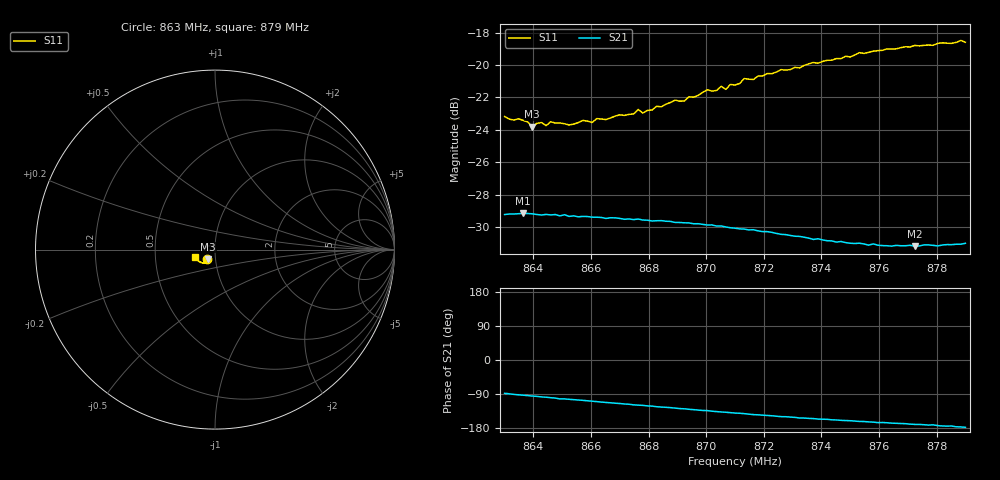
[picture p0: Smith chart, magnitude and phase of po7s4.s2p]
# HZ S RI R 50
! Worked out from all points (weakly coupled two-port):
!   101 points, 863 MHz to 879 MHz, reference 50 ohm
!   highest |S21| = -29.15 dB at 863.64 MHz (marker M1); lowest = -31.2 dB at 877.24 MHz (marker M2)
!   lowest |S11| = -23.8 dB at 863.96 MHz (marker M3), VSWR 1.14, Z = 46.1 - j4.81 ohm
!   |S11| at or under -10 dB: start of sweep to end of sweep
!   S12 and S22 are empty: the file has one direction only
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8.63e8  -0.0437 -0.0539  0.00128 -0.0346  0 0  0 0
8.6364e8  -0.0415 -0.0533  -0.00176 -0.0348  0 0  0 0
8.6396e8  -0.0383 -0.052  -0.00306 -0.0347  0 0  0 0
8.6428e8  -0.0372 -0.0551  -0.0045 -0.0342  0 0  0 0
8.6524e8  -0.0347 -0.0554  -0.00811 -0.0332  0 0  0 0
8.6572e8  -0.0346 -0.058  -0.00968 -0.0328  0 0  0 0
8.6604e8  -0.0344 -0.0569  -0.0109 -0.0322  0 0  0 0
8.662e8  -0.0348 -0.0588  -0.0115 -0.0319  0 0  0 0
8.6748e8  -0.0332 -0.0624  -0.0159 -0.0294  0 0  0 0
8.6764e8  -0.0358 -0.0636  -0.0163 -0.0293  0 0  0 0
8.678e8  -0.0339 -0.0625  -0.0165 -0.0289  0 0  0 0
8.6844e8  -0.0355 -0.0653  -0.0186 -0.0274  0 0  0 0
8.7004e8  -0.0422 -0.0725  -0.0221 -0.0233  0 0  0 0
8.7052e8  -0.0457 -0.0728  -0.0234 -0.0217  0 0  0 0
8.7068e8  -0.0435 -0.072  -0.0235 -0.0213  0 0  0 0
8.71e8  -0.0468 -0.0731  -0.0241 -0.0202  0 0  0 0
8.7132e8  -0.0508 -0.0753  -0.0245 -0.0194  0 0  0 0
8.7164e8  -0.0505 -0.0748  -0.0252 -0.0182  0 0  0 0
8.7372e8  -0.0674 -0.0763  -0.0262 -0.0124  0 0  0 0
8.7644e8  -0.0925 -0.063  -0.0269 -0.00641  0 0  0 0
8.7724e8  -0.0998 -0.0569  -0.0272 -0.00484  0 0  0 0
8.79e8  -0.1109 -0.0388  -0.0282 -0.00117  0 0  0 0
